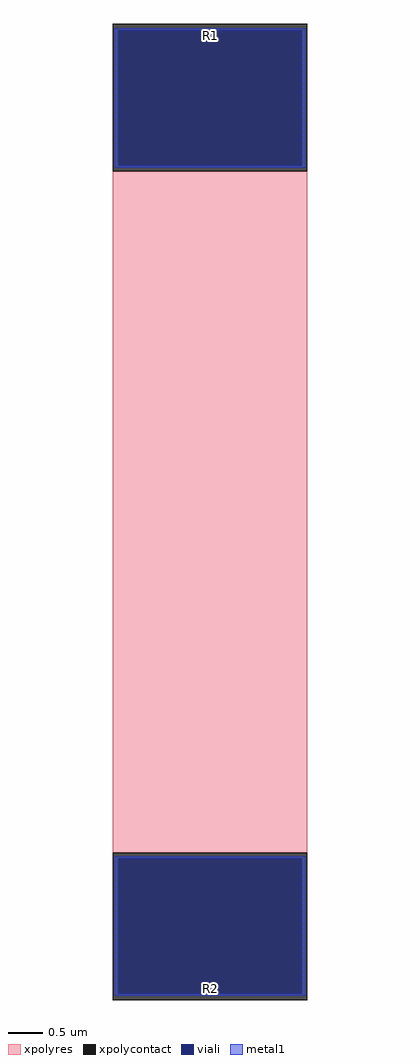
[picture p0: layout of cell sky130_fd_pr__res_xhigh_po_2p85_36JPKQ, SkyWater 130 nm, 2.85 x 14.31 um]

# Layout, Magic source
magic
tech sky130A
magscale 1 2
<< xpolycontact >>
rect -285 999 285 1431
rect -285 -1431 285 -999
<< xpolyres >>
rect -285 -999 285 999
<< viali >>
rect -269 1016 269 1413
rect -269 -1413 269 -1016
<< metal1 >>
rect -281 1413 281 1419
rect -281 1016 -269 1413
rect 269 1016 281 1413
rect -281 1010 281 1016
rect -281 -1016 281 -1010
rect -281 -1413 -269 -1016
rect 269 -1413 281 -1016
rect -281 -1419 281 -1413
<< labels >>
rlabel xpolycontact 0 1396 0 1396 0 R1
port 1 nsew
rlabel xpolycontact 0 -1396 0 -1396 0 R2
port 2 nsew
<< properties >>
string gencell sky130_fd_pr__res_xhigh_po_2p85
string library sky130
string parameters w 2.850 l 10.15 m 1 nx 1 wmin 2.850 lmin 0.50 class resistor rho 2000 val 7.254k dummy 0 dw 0.0 term 188.2 sterm 0.0 caplen 0 wmax 2.850 guard 0 glc 0 grc 0 gtc 0 gbc 0 compatible {sky130_fd_pr__res_xhigh_po_0p35  sky130_fd_pr__res_xhigh_po_0p69 sky130_fd_pr__res_xhigh_po_1p41  sky130_fd_pr__res_xhigh_po_2p85 sky130_fd_pr__res_xhigh_po_5p73} snake 0 full_metal 0 n_guard 0 hv_guard 0 vias 1 viagb 0 viagt 0 viagl 0 viagr 0 doports 1
<< end >>
